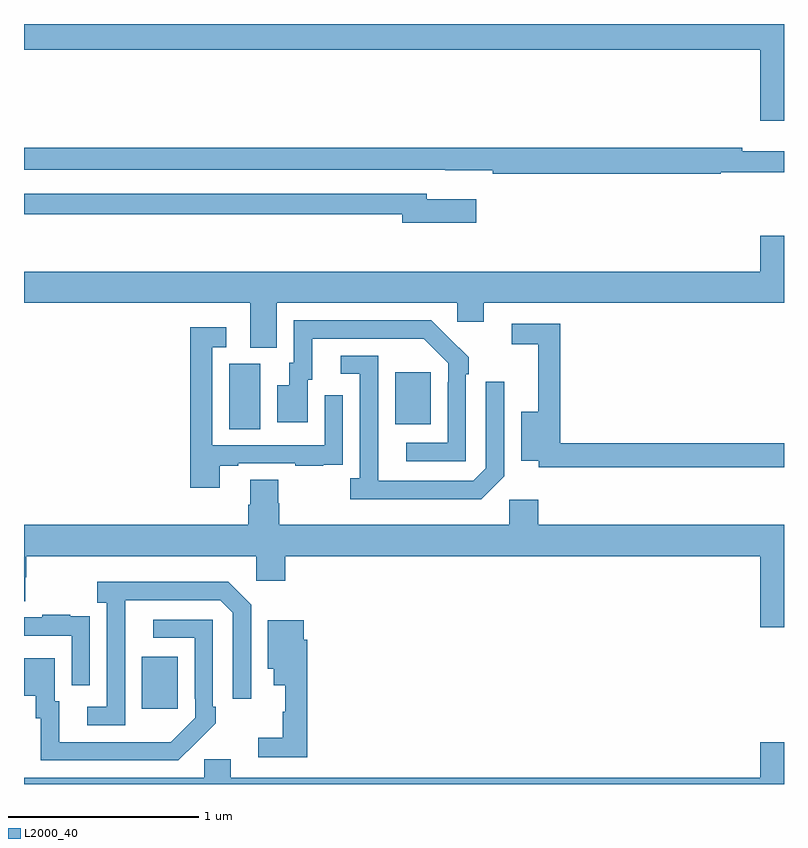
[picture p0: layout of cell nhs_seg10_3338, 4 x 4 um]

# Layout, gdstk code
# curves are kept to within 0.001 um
import gdstk
lib = gdstk.Library(unit=1e-6, precision=1e-09)
def R(c, l, rs):  # rectangles x0, y0, x1, y1
    for r in rs: c.add(gdstk.rectangle(r[:2], r[2:], *l))
def P(c, l, *ps):  # polygons
    for p in ps: c.add(gdstk.Polygon(p, *l))
L2000_40 = (2000, 40)

nhs_seg10_3338 = lib.new_cell('nhs_seg10_3338')
R(nhs_seg10_3338, L2000_40, [(293.621,1248.897,293.809,1249.171), (294.08,1250.368,294.244,1250.712), (294.953,1250.393,295.141,1250.668)])
P(nhs_seg10_3338, L2000_40, [(297,1252.5),(293,1252.5),(293,1252.364),(296.876,1252.364),(296.876,1251.99),(297,1251.99)],
  [(296.668,1251.72),(297,1251.72),(297,1251.829),(296.78,1251.829),(296.78,1251.848),(293,1251.848),(293,1251.732),(295.216,1251.732),(295.216,1251.731),(295.468,1251.731),(295.468,1251.712),(296.668,1251.712)],
  [(295.381,1251.577),(295.12,1251.577),(295.12,1251.606),(293,1251.606),(293,1251.498),(294.992,1251.498),(294.992,1251.455),(295.381,1251.455)],
  [(294.331,1251.032),(295.281,1251.032),(295.281,1250.934),(295.42,1250.934),(295.42,1251.032),(297,1251.032),(297,1251.385),(296.876,1251.385),(296.876,1251.196),(293,1251.196),(293,1251.032),(294.191,1251.032),(294.191,1250.797),(294.331,1250.797)],
  [(295.326,1250.657),(295.341,1250.657),(295.341,1250.745),(295.144,1250.94),(294.42,1250.94),(294.42,1250.718),(294.395,1250.718),(294.395,1250.599),(294.332,1250.599),(294.332,1250.403),(294.493,1250.403),(294.493,1250.628),(294.517,1250.628),(294.517,1250.844),(295.105,1250.844),(295.233,1250.715),(295.233,1250.615),(295.23,1250.615),(295.23,1250.295),(295.011,1250.295),(295.011,1250.199),(295.326,1250.199)],
  [(297,1250.294),(295.823,1250.294),(295.823,1250.922),(295.566,1250.922),(295.566,1250.814),(295.706,1250.814),(295.706,1250.458),(295.616,1250.458),(295.616,1250.201),(295.71,1250.201),(295.71,1250.166),(297,1250.166)],
  [(294.031,1250.175),(294.127,1250.175),(294.127,1250.187),(294.427,1250.187),(294.427,1250.175),(294.575,1250.175),(294.575,1250.181),(294.677,1250.181),(294.677,1250.29),(294.678,1250.29),(294.678,1250.545),(294.582,1250.545),(294.582,1250.283),(293.991,1250.283),(293.991,1250.799),(294.064,1250.799),(294.064,1250.905),(293.875,1250.905),(293.875,1250.058),(294.031,1250.058)],
  [(295.527,1250.121),(295.527,1250.617),(295.431,1250.617),(295.431,1250.163),(295.365,1250.097),(294.865,1250.097),(294.864,1250.754),(294.666,1250.754),(294.666,1250.658),(294.768,1250.658),(294.768,1250.11),(294.717,1250.11),(294.717,1250),(295.406,1250)],
  [(294.344,1249.977),(294.339,1249.977),(294.339,1250.102),(294.191,1250.102),(294.191,1249.97),(294.179,1249.97),(294.179,1249.864),(293,1249.864),(293,1249.462),(293.007,1249.462),(293.007,1249.587),(293.012,1249.587),(293.012,1249.7),(294.222,1249.7),(294.222,1249.569),(294.374,1249.569),(294.374,1249.7),(296.876,1249.7),(296.876,1249.326),(297,1249.326),(297,1249.864),(295.706,1249.864),(295.706,1249.996),(295.554,1249.996),(295.554,1249.864),(294.344,1249.864)],
  [(293.532,1249.267),(293.533,1249.467),(294.033,1249.467),(294.099,1249.401),(294.099,1248.948),(294.195,1248.948),(294.195,1249.443),(294.074,1249.564),(293.385,1249.564),(293.385,1249.454),(293.436,1249.454),(293.436,1248.906),(293.334,1248.906),(293.334,1248.81),(293.532,1248.81)],
  [(293.346,1249.274),(293.345,1249.274),(293.345,1249.383),(293.243,1249.383),(293.243,1249.39),(293.095,1249.39),(293.095,1249.377),(293,1249.377),(293,1249.281),(293.25,1249.281),(293.25,1249.02),(293.346,1249.02)],
  [(293.903,1248.715),(293.904,1248.714),(294.009,1248.819),(294.009,1248.907),(293.994,1248.907),(293.994,1249.365),(293.679,1249.365),(293.679,1249.269),(293.898,1249.269),(293.898,1248.949),(293.901,1248.949),(293.901,1248.849),(293.773,1248.721),(293.185,1248.72),(293.185,1248.936),(293.161,1248.936),(293.161,1249.162),(293,1249.162),(293,1248.965),(293.063,1248.965),(293.063,1248.846),(293.088,1248.846),(293.088,1248.624),(293.812,1248.624)],
  [(294.491,1249.259),(294.472,1249.259),(294.472,1249.363),(294.284,1249.363),(294.284,1249.106),(294.314,1249.106),(294.314,1249.019),(294.374,1249.019),(294.374,1248.879),(294.363,1248.879),(294.363,1248.743),(294.234,1248.743),(294.234,1248.642),(294.491,1248.642)],
  [(297,1248.721),(296.876,1248.721),(296.876,1248.532),(294.088,1248.532),(294.088,1248.63),(293.949,1248.63),(293.949,1248.532),(293,1248.532),(293,1248.5),(297,1248.5)])

lib.write_gds('nhs_seg10_3338.gds')
